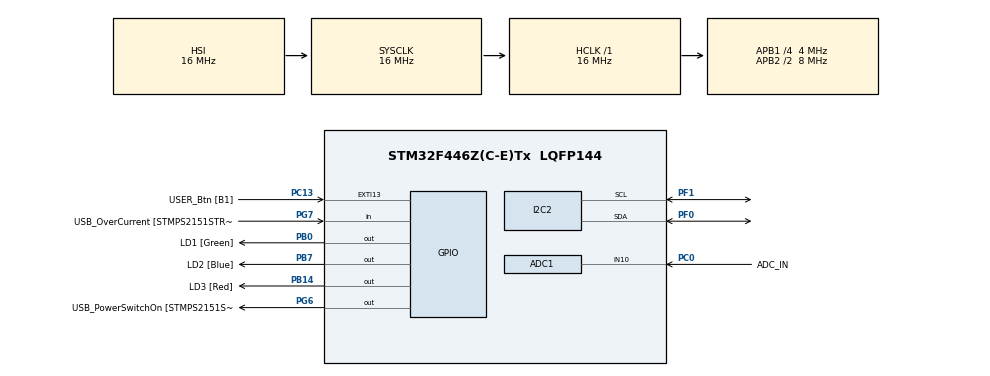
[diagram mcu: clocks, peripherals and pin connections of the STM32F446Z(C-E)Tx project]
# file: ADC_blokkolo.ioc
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ADC1.Channel-0\#ChannelRegularConversion=ADC_CHANNEL_10
ADC1.NbrOfConversionFlag=1
ADC1.Rank-0\#ChannelRegularConversion=1
ADC1.SamplingTime-0\#ChannelRegularConversion=ADC_SAMPLETIME_3CYCLES
ADC1.master=1
Mcu.Family=STM32F4
Mcu.Name=STM32F446Z(C-E)Tx
Mcu.Package=LQFP144
NVIC.PriorityGroup=NVIC_PRIORITYGROUP_4
PA10.GPIO_Label=USB_ID
PA10.Signal=USB_OTG_FS_ID
PA11.GPIO_Label=USB_DM
PA11.Signal=USB_OTG_FS_DM
PA12.GPIO_Label=USB_DP
PA12.Signal=USB_OTG_FS_DP
PA13.GPIO_Label=TMS
PA13.Mode=Serial_Wire
PA13.Signal=SYS_JTMS-SWDIO
PA14.GPIO_Label=TCK
PA14.Mode=Serial_Wire
PA14.Signal=SYS_JTCK-SWCLK
PA8.GPIO_Label=USB_SOF [TP1]
PA8.Signal=USB_OTG_FS_SOF
PA9.GPIO_Label=USB_VBUS
PA9.Signal=USB_OTG_FS_VBUS
PB0.GPIO_Label=LD1 [Green]
PB0.Signal=GPIO_Output
PB14.GPIO_Label=LD3 [Red]
PB14.Signal=GPIO_Output
PB7.GPIO_Label=LD2 [Blue]
PB7.Signal=GPIO_Output
PC0.GPIO_Label=ADC_IN
PC0.Signal=ADCx_IN10
PC13.GPIO_Label=USER_Btn [B1]
PC13.Signal=GPXTI13
PC14-OSC32_IN.Mode=LSE-External-Oscillator
PC14-OSC32_IN.Signal=RCC_OSC32_IN
PC15-OSC32_OUT.Mode=LSE-External-Oscillator
PC15-OSC32_OUT.Signal=RCC_OSC32_OUT
PD8.GPIO_Label=STLK_RX [STM32F103CBT6_PA3]
PD8.Signal=USART3_TX
PD9.GPIO_Label=STLK_TX [STM32F103CBT6_PA2]
PD9.Signal=USART3_RX
PF0.Mode=I2C
PF0.Signal=I2C2_SDA
PF1.Mode=I2C
PF1.Signal=I2C2_SCL
PG6.GPIO_Label=USB_PowerSwitchOn [STMPS2151STR_EN]
PG6.Signal=GPIO_Output
PG7.GPIO_Label=USB_OverCurrent [STMPS2151STR_FAULT]
PG7.Signal=GPIO_Input
PH0-OSC_IN.GPIO_Label=MCO [STM32F103CBT6_PA8]
PH0-OSC_IN.Mode=HSE-External-Clock-Source
PH0-OSC_IN.Signal=RCC_OSC_IN
PH1-OSC_OUT.Mode=HSE-External-Clock-Source
PH1-OSC_OUT.Signal=RCC_OSC_OUT
ProjectManager.HeapSize=0x200
ProjectManager.StackSize=0x400
ProjectManager.TargetToolchain=STM32CubeIDE
RCC.48MHZClocksFreq_Value=24000000
RCC.AHBFreq_Value=16000000
RCC.APB1CLKDivider=RCC_HCLK_DIV4
RCC.APB1Freq_Value=4000000
RCC.APB1TimFreq_Value=8000000
RCC.APB2CLKDivider=RCC_HCLK_DIV2
RCC.APB2Freq_Value=8000000
RCC.APB2TimFreq_Value=16000000
RCC.CortexFreq_Value=16000000
RCC.HCLKFreq_Value=16000000
RCC.HSE_VALUE=8000000
RCC.HSI_VALUE=16000000
RCC.PLLM=4
RCC.PLLMUL=RCC_PLL_MUL9
RCC.PLLN=72
RCC.PLLQ=3
RCC.PRESCALERUSB=RCC_USBCLKSOURCE_PLL_DIV1_5
RCC.SYSCLKFreq_VALUE=16000000
RCC.SYSCLKSourceVirtual=RCC_SYSCLKSOURCE_PLLCLK
RCC.USBFreq_Value=96000000
RCC.VCOOutputFreq_Value=288000000
SH.ADCx_IN10.0=ADC1_IN10,IN10
board=NUCLEO-F446ZE

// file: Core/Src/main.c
/* USER CODE BEGIN Header */
/**
  ******************************************************************************
  * @file           : main.c
  * @brief          : Main program body
  ******************************************************************************
  * @attention
  *
  * Copyright (c) 2026 STMicroelectronics.
  * All rights reserved.
  *
  * This software is licensed under terms that can be found in the LICENSE file
  * in the root directory of this software component.
  * If no LICENSE file comes with this software, it is provided AS-IS.
  *
  ******************************************************************************
  */
/* USER CODE END Header */
#include "main.h"

/* USER CODE BEGIN Includes */
#include "OLED.h"
#include "stdio.h"
/* USER CODE END Includes */

ADC_HandleTypeDef hadc1;

I2C_HandleTypeDef hi2c2;

void SystemClock_Config(void);
static void MX_GPIO_Init(void);
static void MX_ADC1_Init(void);
static void MX_I2C2_Init(void);

int main(void)
{

  /* MCU Configuration--------------------------------------------------------*/

  /* Reset of all peripherals, Initializes the Flash interface and the Systick. */
  HAL_Init();

  /* Configure the system clock */
  SystemClock_Config();

  /* Initialize all configured peripherals */
  MX_GPIO_Init();
  MX_ADC1_Init();
  MX_I2C2_Init();
  /* USER CODE BEGIN 2 */
  OLED_Init();

  char adc_char[11];

  uint32_t adc;
  /* USER CODE END 2 */

  /* Infinite loop */
  while (1)
  {

    /* USER CODE BEGIN 3 */
	  HAL_ADC_Start(&hadc1);

	  if(HAL_ADC_PollForConversion(&hadc1, 10)==HAL_OK)
	  {
		  adc = HAL_ADC_GetValue(&hadc1);
	  }

	  sprintf(adc_char, "%d", (uint16_t)adc);

	  OLED_Fill(Black);

	  OLED_SetCursor(2, 0);
	  OLED_WriteString("ADC value", Font_11x18, White);
	  OLED_SetCursor(2, 18);
	  OLED_WriteString(adc_char, Font_11x18, White);
	  sprintf(adc_char, "%dmV", (uint16_t)(adc*0.806));
	  OLED_SetCursor(2, 18+18);
	  OLED_WriteString(adc_char, Font_11x18, White);

	  OLED_UpdateScreen();

	  HAL_Delay(200);
  }
  /* USER CODE END 3 */
}

void SystemClock_Config(void)
{
  RCC_OscInitTypeDef RCC_OscInitStruct = {0};
  RCC_ClkInitTypeDef RCC_ClkInitStruct = {0};

  /** Configure the main internal regulator output voltage
  */
  __HAL_RCC_PWR_CLK_ENABLE();
  __HAL_PWR_VOLTAGESCALING_CONFIG(PWR_REGULATOR_VOLTAGE_SCALE3);

  /** Initializes the RCC Oscillators according to the specified parameters
  * in the RCC_OscInitTypeDef structure.
  */
  RCC_OscInitStruct.OscillatorType = RCC_OSCILLATORTYPE_HSI;
  RCC_OscInitStruct.HSIState = RCC_HSI_ON;
  RCC_OscInitStruct.HSICalibrationValue = RCC_HSICALIBRATION_DEFAULT;
  RCC_OscInitStruct.PLL.PLLState = RCC_PLL_NONE;
  if (HAL_RCC_OscConfig(&RCC_OscInitStruct) != HAL_OK)
  {
    Error_Handler();
  }

  /** Initializes the CPU, AHB and APB buses clocks
  */
  RCC_ClkInitStruct.ClockType = RCC_CLOCKTYPE_HCLK|RCC_CLOCKTYPE_SYSCLK
                              |RCC_CLOCKTYPE_PCLK1|RCC_CLOCKTYPE_PCLK2;
  RCC_ClkInitStruct.SYSCLKSource = RCC_SYSCLKSOURCE_HSI;
  RCC_ClkInitStruct.AHBCLKDivider = RCC_SYSCLK_DIV1;
  RCC_ClkInitStruct.APB1CLKDivider = RCC_HCLK_DIV4;
  RCC_ClkInitStruct.APB2CLKDivider = RCC_HCLK_DIV2;

  if (HAL_RCC_ClockConfig(&RCC_ClkInitStruct, FLASH_LATENCY_0) != HAL_OK)
  {
    Error_Handler();
  }
}

static void MX_ADC1_Init(void)
{

  ADC_ChannelConfTypeDef sConfig = {0};

  /** Configure the global features of the ADC (Clock, Resolution, Data Alignment and number of conversion)
  */
  hadc1.Instance = ADC1;
  hadc1.Init.ClockPrescaler = ADC_CLOCK_SYNC_PCLK_DIV2;
  hadc1.Init.Resolution = ADC_RESOLUTION_12B;
  hadc1.Init.ScanConvMode = DISABLE;
  hadc1.Init.ContinuousConvMode = DISABLE;
  hadc1.Init.DiscontinuousConvMode = DISABLE;
  hadc1.Init.ExternalTrigConvEdge = ADC_EXTERNALTRIGCONVEDGE_NONE;
  hadc1.Init.ExternalTrigConv = ADC_SOFTWARE_START;
  hadc1.Init.DataAlign = ADC_DATAALIGN_RIGHT;
  hadc1.Init.NbrOfConversion = 1;
  hadc1.Init.DMAContinuousRequests = DISABLE;
  hadc1.Init.EOCSelection = ADC_EOC_SINGLE_CONV;
  if (HAL_ADC_Init(&hadc1) != HAL_OK)
  {
    Error_Handler();
  }

  /** Configure for the selected ADC regular channel its corresponding rank in the sequencer and its sample time.
  */
  sConfig.Channel = ADC_CHANNEL_10;
  sConfig.Rank = 1;
  sConfig.SamplingTime = ADC_SAMPLETIME_3CYCLES;
  if (HAL_ADC_ConfigChannel(&hadc1, &sConfig) != HAL_OK)
  {
    Error_Handler();
  }

}

static void MX_I2C2_Init(void)
{

  hi2c2.Instance = I2C2;
  hi2c2.Init.ClockSpeed = 100000;
  hi2c2.Init.DutyCycle = I2C_DUTYCYCLE_2;
  hi2c2.Init.OwnAddress1 = 0;
  hi2c2.Init.AddressingMode = I2C_ADDRESSINGMODE_7BIT;
  hi2c2.Init.DualAddressMode = I2C_DUALADDRESS_DISABLE;
  hi2c2.Init.OwnAddress2 = 0;
  hi2c2.Init.GeneralCallMode = I2C_GENERALCALL_DISABLE;
  hi2c2.Init.NoStretchMode = I2C_NOSTRETCH_DISABLE;
  if (HAL_I2C_Init(&hi2c2) != HAL_OK)
  {
    Error_Handler();
  }

}

static void MX_GPIO_Init(void)
{
  GPIO_InitTypeDef GPIO_InitStruct = {0};

  /* GPIO Ports Clock Enable */
  __HAL_RCC_GPIOC_CLK_ENABLE();
  __HAL_RCC_GPIOF_CLK_ENABLE();
  __HAL_RCC_GPIOH_CLK_ENABLE();
  __HAL_RCC_GPIOB_CLK_ENABLE();
  __HAL_RCC_GPIOD_CLK_ENABLE();
  __HAL_RCC_GPIOG_CLK_ENABLE();
  __HAL_RCC_GPIOA_CLK_ENABLE();

  /*Configure GPIO pin Output Level */
  HAL_GPIO_WritePin(GPIOB, LD1_Pin|LD3_Pin|LD2_Pin, GPIO_PIN_RESET);

  /*Configure GPIO pin Output Level */
  HAL_GPIO_WritePin(USB_PowerSwitchOn_GPIO_Port, USB_PowerSwitchOn_Pin, GPIO_PIN_RESET);

  /*Configure GPIO pin : USER_Btn_Pin */
  GPIO_InitStruct.Pin = USER_Btn_Pin;
  GPIO_InitStruct.Mode = GPIO_MODE_IT_RISING;
  GPIO_InitStruct.Pull = GPIO_NOPULL;
  HAL_GPIO_Init(USER_Btn_GPIO_Port, &GPIO_InitStruct);

  /*Configure GPIO pins : LD1_Pin LD3_Pin LD2_Pin */
  GPIO_InitStruct.Pin = LD1_Pin|LD3_Pin|LD2_Pin;
  GPIO_InitStruct.Mode = GPIO_MODE_OUTPUT_PP;
  GPIO_InitStruct.Pull = GPIO_NOPULL;
  GPIO_InitStruct.Speed = GPIO_SPEED_FREQ_LOW;
  HAL_GPIO_Init(GPIOB, &GPIO_InitStruct);

  /*Configure GPIO pins : STLK_RX_Pin STLK_TX_Pin */
  GPIO_InitStruct.Pin = STLK_RX_Pin|STLK_TX_Pin;
  GPIO_InitStruct.Mode = GPIO_MODE_AF_PP;
  GPIO_InitStruct.Pull = GPIO_NOPULL;
  GPIO_InitStruct.Speed = GPIO_SPEED_FREQ_VERY_HIGH;
  GPIO_InitStruct.Alternate = GPIO_AF7_USART3;
  HAL_GPIO_Init(GPIOD, &GPIO_InitStruct);

  /*Configure GPIO pin : USB_PowerSwitchOn_Pin */
  GPIO_InitStruct.Pin = USB_PowerSwitchOn_Pin;
  GPIO_InitStruct.Mode = GPIO_MODE_OUTPUT_PP;
  GPIO_InitStruct.Pull = GPIO_NOPULL;
  GPIO_InitStruct.Speed = GPIO_SPEED_FREQ_LOW;
  HAL_GPIO_Init(USB_PowerSwitchOn_GPIO_Port, &GPIO_InitStruct);

  /*Configure GPIO pin : USB_OverCurrent_Pin */
  GPIO_InitStruct.Pin = USB_OverCurrent_Pin;
  GPIO_InitStruct.Mode = GPIO_MODE_INPUT;
  GPIO_InitStruct.Pull = GPIO_NOPULL;
  HAL_GPIO_Init(USB_OverCurrent_GPIO_Port, &GPIO_InitStruct);

  /*Configure GPIO pins : USB_SOF_Pin USB_ID_Pin USB_DM_Pin USB_DP_Pin */
  GPIO_InitStruct.Pin = USB_SOF_Pin|USB_ID_Pin|USB_DM_Pin|USB_DP_Pin;
  GPIO_InitStruct.Mode = GPIO_MODE_AF_PP;
  GPIO_InitStruct.Pull = GPIO_NOPULL;
  GPIO_InitStruct.Speed = GPIO_SPEED_FREQ_VERY_HIGH;
  GPIO_InitStruct.Alternate = GPIO_AF10_OTG_FS;
  HAL_GPIO_Init(GPIOA, &GPIO_InitStruct);

  /*Configure GPIO pin : USB_VBUS_Pin */
  GPIO_InitStruct.Pin = USB_VBUS_Pin;
  GPIO_InitStruct.Mode = GPIO_MODE_INPUT;
  GPIO_InitStruct.Pull = GPIO_NOPULL;
  HAL_GPIO_Init(USB_VBUS_GPIO_Port, &GPIO_InitStruct);

}

void Error_Handler(void)
{
  __disable_irq();
  while (1)
  {
  }
}
